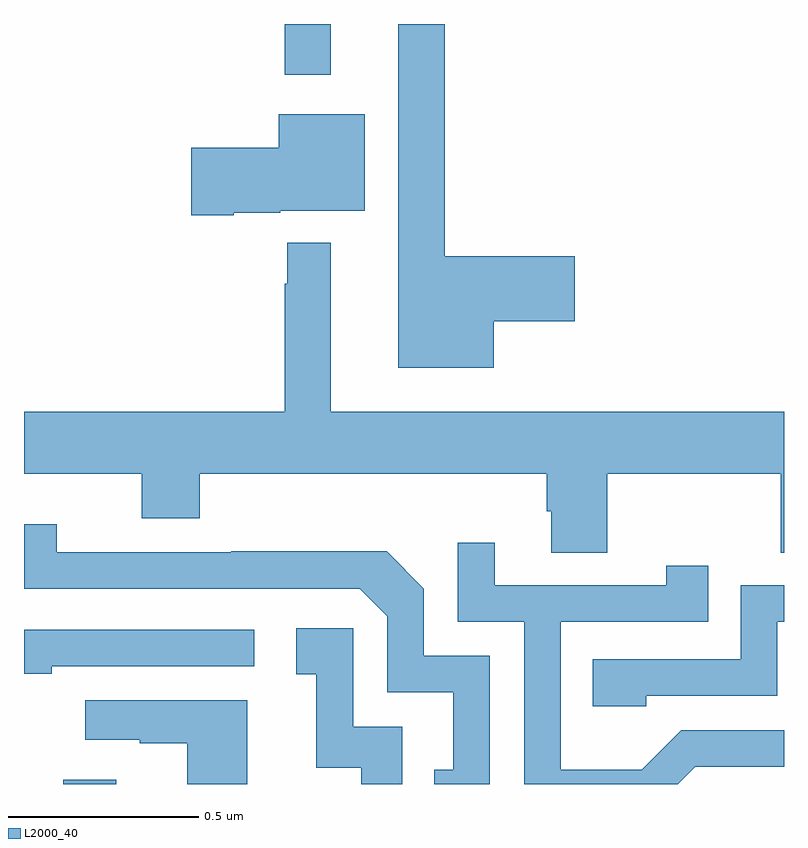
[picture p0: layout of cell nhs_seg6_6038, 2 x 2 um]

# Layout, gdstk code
import gdstk
lib = gdstk.Library(unit=1e-6, precision=1e-09)
def R(c, l, rs):  # rectangles x0, y0, x1, y1
    for r in rs: c.add(gdstk.rectangle(r[:2], r[2:], *l))
def P(c, l, *ps):  # polygons
    for p in ps: c.add(gdstk.Polygon(p, *l))
L2000_40 = (2000, 40)

nhs_seg6_6038 = lib.new_cell('nhs_seg6_6038')
R(nhs_seg6_6038, L2000_40, [(190.103,966.5,190.243,966.511), (190.686,968.367,190.807,968.5)])
P(nhs_seg6_6038, L2000_40, [(191.236,967.718),(191.449,967.718),(191.449,967.889),(191.107,967.889),(191.107,968.5),(190.985,968.5),(190.985,967.595),(191.236,967.595)],
  [(190.552,968.003),(190.674,968.003),(190.674,968.009),(190.897,968.009),(190.897,968.263),(190.67,968.263),(190.67,968.175),(190.44,968.175),(190.44,967.997),(190.552,967.997)],
  [(191.535,967.316),(191.992,967.316),(191.992,967.108),(192,967.108),(192,967.48),(190.807,967.48),(190.807,967.924),(190.693,967.924),(190.693,967.817),(190.686,967.817),(190.686,967.48),(190,967.48),(190,967.316),(190.31,967.316),(190.31,967.199),(190.463,967.199),(190.463,967.316),(191.375,967.316),(191.375,967.218),(191.387,967.218),(191.387,967.108),(191.535,967.108)],
  [(191.226,966.837),(191.052,966.837),(191.052,967.014),(190.954,967.112),(190.546,967.112),(190.546,967.11),(190.086,967.11),(190.086,967.183),(190,967.183),(190,967.014),(190.884,967.014),(190.956,966.942),(190.956,966.741),(191.129,966.741),(191.129,966.537),(191.08,966.537),(191.08,966.5),(191.226,966.5)],
  [(191.767,966.546),(192,966.546),(192,966.642),(191.73,966.642),(191.626,966.538),(191.412,966.538),(191.412,966.927),(191.801,966.927),(191.801,967.075),(191.69,967.075),(191.69,967.023),(191.239,967.023),(191.239,967.135),(191.142,967.135),(191.142,966.927),(191.316,966.927),(191.316,966.5),(191.721,966.5)],
  [(191.637,966.732),(191.982,966.732),(191.982,966.927),(192,966.927),(192,967.023),(191.886,967.023),(191.886,966.828),(191.497,966.828),(191.497,966.705),(191.637,966.705)],
  [(190.995,966.651),(190.866,966.651),(190.866,966.91),(190.716,966.91),(190.716,966.789),(190.769,966.789),(190.769,966.543),(190.887,966.543),(190.887,966.5),(190.995,966.5)],
  [(190.073,966.81),(190.606,966.81),(190.606,966.906),(190,966.906),(190,966.79),(190.073,966.79)],
  [(190.588,966.721),(190.161,966.721),(190.161,966.617),(190.304,966.617),(190.304,966.607),(190.43,966.607),(190.43,966.5),(190.588,966.5)])

lib.write_gds('nhs_seg6_6038.gds')
